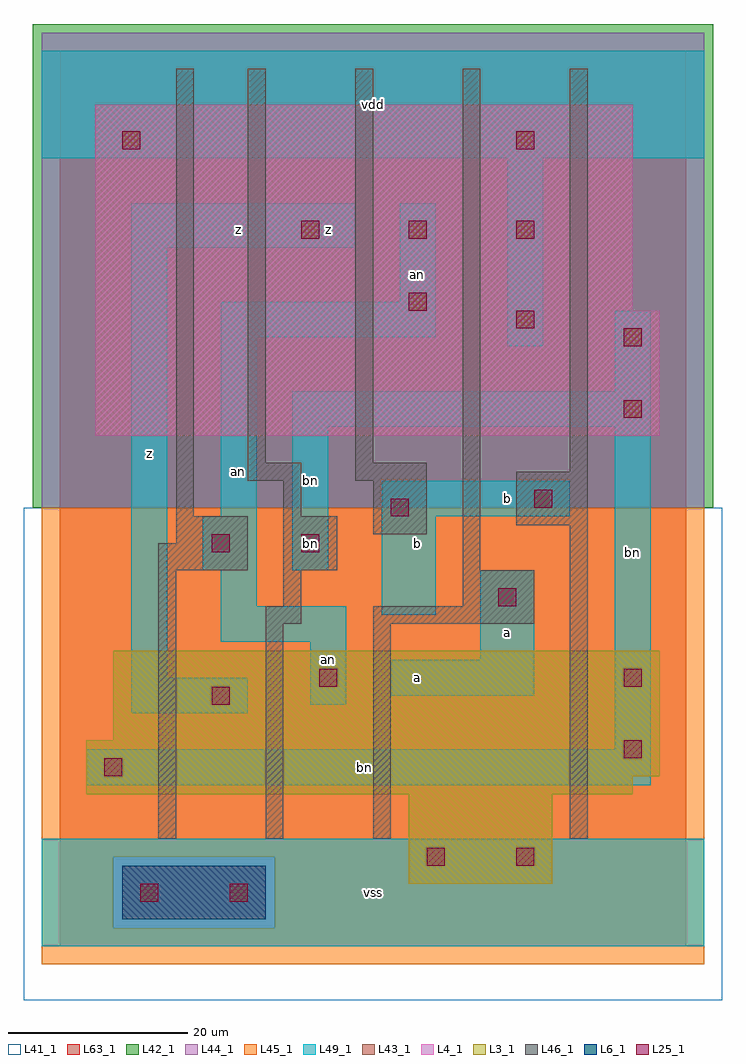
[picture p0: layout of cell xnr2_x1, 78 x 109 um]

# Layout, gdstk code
import gdstk
lib = gdstk.Library(unit=1e-6, precision=1e-09)
def R(c, l, rs):  # rectangles x0, y0, x1, y1
    for r in rs: c.add(gdstk.rectangle(r[:2], r[2:], *l))
def A(c, l, x, y, w, h, nx, ny, dx, dy):  # array of equal rectangles
    R(c, l, [(x+i*dx, y+j*dy, x+i*dx+w, y+j*dy+h) for i in range(nx) for j in range(ny)])
L3_1 = (3, 1)
L4_1 = (4, 1)
L6_1 = (6, 1)
L25_1 = (25, 1)
L41_1 = (41, 1)
L42_1 = (42, 1)
L43_1 = (43, 1)
L44_1 = (44, 1)
L45_1 = (45, 1)
L46_1 = (46, 1)
L49_1 = (49, 1)
L63_1 = (63, 1)

xnr2_x1 = lib.new_cell('xnr2_x1')
R(xnr2_x1, L3_1, [(39,7,55,17), (3,17,64,19), (3,19,67,23), (6,23,67,33)])
R(xnr2_x1, L4_1, [(4,57,67,71), (4,71,64,94)])
R(xnr2_x1, L6_1, [(7,3,23,9)])
A(xnr2_x1, L25_1, 27, 79, 2, 2, 3, 1, 12, 0)
R(xnr2_x1, L25_1, [(9,5,11,7), (19,5,21,7), (41,9,43,11), (51,9,53,11), (5,19,7,21), (63,21,65,23), (17,27,19,29), (29,29,31,31), (63,29,65,31), (49,38,51,40), (17,44,19,46), (27,44,29,46), (37,48,39,50), (53,49,55,51), (63,59,65,61), (63,67,65,69), (51,69,53,71), (39,71,41,73), (7,89,9,91), (51,89,53,91)])
R(xnr2_x1, L41_1, [(-4,-6,74,49), (-3,-3,73,49)])
R(xnr2_x1, L42_1, [(-3,49,73,103)])
R(xnr2_x1, L43_1, [(7,3,23,9), (39,7,55,17), (3,17,64,19), (3,19,67,23), (6,23,67,33), (4,57,67,71), (4,71,64,94)])
R(xnr2_x1, L44_1, [(6,2,24,10), (-2,49,72,102)])
R(xnr2_x1, L45_1, [(-2,-2,72,2), (-2,2,6,10), (24,2,72,10), (-2,10,72,49)])
R(xnr2_x1, L46_1, [(11,12,13,42), (23,12,25,36), (35,12,37,36), (57,12,59,47), (23,36,27,38), (35,36,53,38), (25,38,27,42), (45,38,53,42), (11,42,21,45), (25,42,31,48), (45,42,47,98), (13,45,21,48), (35,46,41,52), (51,47,59,53), (13,48,15,98), (25,48,27,52), (21,52,27,54), (33,52,41,54), (57,53,59,98), (21,54,23,98), (33,54,35,98)])
R(xnr2_x1, L49_1, [(-2,0,72,12), (3,18,66,22), (62,22,66,58), (8,26,21,30), (28,27,32,34), (37,28,53,32), (8,30,12,78), (47,32,53,42), (18,34,32,38), (36,37,42,48), (18,38,22,42), (16,42,22,48), (26,42,30,58), (18,48,22,68), (36,48,57,52), (26,58,66,62), (62,62,66,71), (50,67,54,88), (18,68,42,72), (38,72,42,83), (8,78,33,83), (-2,88,72,100)])
R(xnr2_x1, L63_1, [(0,0,70,100)])
xnr2_x1.add(gdstk.Label('bn', (28,45), layer=49, texttype=1))
xnr2_x1.add(gdstk.Label('z', (10,55), layer=49, texttype=1))
xnr2_x1.add(gdstk.Label('z', (10,55), layer=49, texttype=1))
xnr2_x1.add(gdstk.Label('an', (30,32), layer=49, texttype=1))
xnr2_x1.add(gdstk.Label('bn', (28,52), layer=49, texttype=1))
xnr2_x1.add(gdstk.Label('an', (20,53), layer=49, texttype=1))
xnr2_x1.add(gdstk.Label('z', (20,80), layer=49, texttype=1))
xnr2_x1.add(gdstk.Label('z', (20,80), layer=49, texttype=1))
xnr2_x1.add(gdstk.Label('z', (30,80), layer=49, texttype=1))
xnr2_x1.add(gdstk.Label('z', (30,80), layer=49, texttype=1))
xnr2_x1.add(gdstk.Label('vss', (35,6), layer=49, texttype=1))
xnr2_x1.add(gdstk.Label('vss', (35,6), layer=49, texttype=1))
xnr2_x1.add(gdstk.Label('a', (50,35), layer=49, texttype=1))
xnr2_x1.add(gdstk.Label('b', (40,45), layer=49, texttype=1))
xnr2_x1.add(gdstk.Label('a', (40,30), layer=49, texttype=1))
xnr2_x1.add(gdstk.Label('b', (40,45), layer=49, texttype=1))
xnr2_x1.add(gdstk.Label('a', (50,35), layer=49, texttype=1))
xnr2_x1.add(gdstk.Label('a', (40,30), layer=49, texttype=1))
xnr2_x1.add(gdstk.Label('b', (50,50), layer=49, texttype=1))
xnr2_x1.add(gdstk.Label('b', (50,50), layer=49, texttype=1))
xnr2_x1.add(gdstk.Label('an', (40,75), layer=49, texttype=1))
xnr2_x1.add(gdstk.Label('vdd', (35,94), layer=49, texttype=1))
xnr2_x1.add(gdstk.Label('vdd', (35,94), layer=49, texttype=1))
xnr2_x1.add(gdstk.Label('bn', (34,20), layer=49, texttype=1))
xnr2_x1.add(gdstk.Label('bn', (64,44), layer=49, texttype=1))

lib.write_gds('xnr2_x1.gds')
